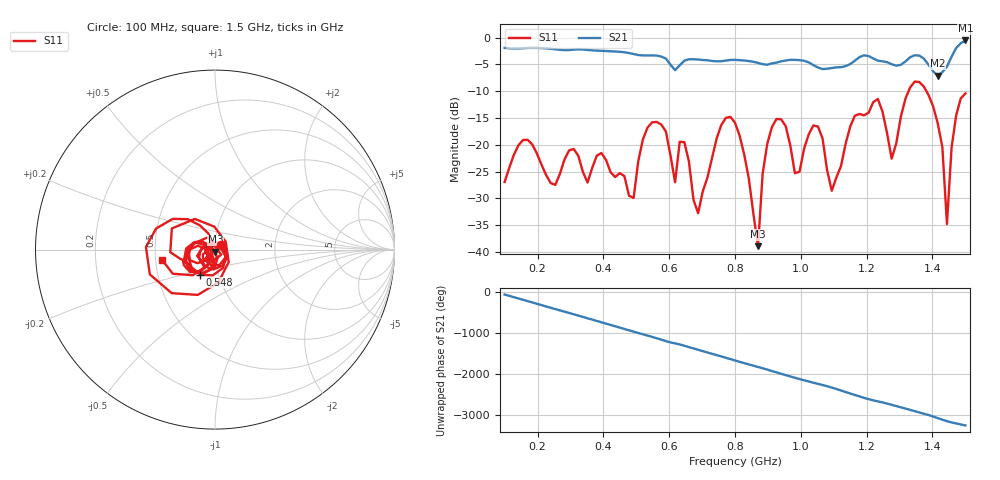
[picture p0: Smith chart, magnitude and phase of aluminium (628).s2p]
! NanoVNA-App
! Date: 2025-09-25 15:00:10
! Start: 100MHz Stop: 1,5GHz Points: 101
! S-Parameter data: F S11 S21 S12 S22
# Hz S RI R 50
!  Frequency  S11_Real  S11_Imag  S21_Real  S21_Imag  S12_Real  S12_Imag  S22_Real  S22_Imag
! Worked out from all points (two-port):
!   101 points, 100 MHz to 1.5 GHz, reference 50 ohm
!   highest |S21| = -0.53 dB at 1.5 GHz (marker M1); lowest = -7.1 dB at 1.416 GHz (marker M2)
!   |S21| within 3 dB of the highest: start of sweep to 575.1 MHz; 1.458 GHz to end of sweep (the widest 2 of 4)
!   lowest |S11| = -38.9 dB at 870 MHz (marker M3), VSWR 1.02, Z = 50.2 - j1.11 ohm
!   |S11| at or under -10 dB: start of sweep to 1.327 GHz; 1.382 GHz to end of sweep
!   S12 and S22 are empty: the file has one direction only
!   S11 on the Smith chart (normalised r, x): 100 MHz: 1.07, +0.06; 548 MHz: 0.82, -0.23; 1.5 GHz: 0.54, -0.07
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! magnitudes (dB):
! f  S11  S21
! 100 MHz  -27.0  -1.9
! 156 MHz  -19.1  -2.0
! 338 MHz  -25.1  -2.2
! 492 MHz  -29.9  -3.1
! 548 MHz  -15.8  -3.3
! 576 MHz  -16.2  -3.5
! 618 MHz  -27.0  -6.1
! 646 MHz  -19.5  -4.3
! 688 MHz  -32.8  -4.1
! 800 MHz  -15.9  -4.1
! 870 MHz  -38.9  -4.7
! 912 MHz  -16.7  -4.8
! 982 MHz  -25.3  -4.1
! 1.038 GHz  -16.4  -5.1
! 1.094 GHz  -28.6  -5.7
! 1.234 GHz  -11.4  -4.3
! 1.276 GHz  -22.6  -5.0
! 1.346 GHz  -8.2  -3.3
! 1.416 GHz  -16.0  -7.1
! 1.444 GHz  -34.8  -5.4
! 1.458 GHz  -20.6  -3.6
! 1.5 GHz  -10.4  -0.5
